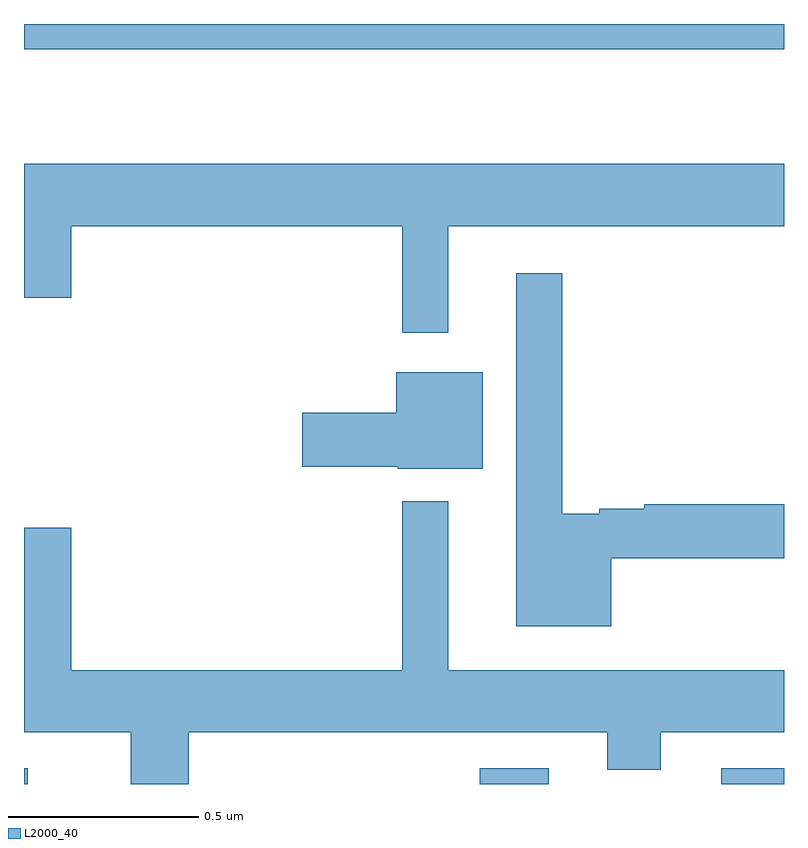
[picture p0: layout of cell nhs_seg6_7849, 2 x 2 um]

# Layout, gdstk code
import gdstk
lib = gdstk.Library(unit=1e-6, precision=1e-09)
def R(c, l, rs):  # rectangles x0, y0, x1, y1
    for r in rs: c.add(gdstk.rectangle(r[:2], r[2:], *l))
def P(c, l, *ps):  # polygons
    for p in ps: c.add(gdstk.Polygon(p, *l))
L2000_40 = (2000, 40)

nhs_seg6_7849 = lib.new_cell('nhs_seg6_7849')
R(nhs_seg6_7849, L2000_40, [(213,980.5,213.01,980.542), (214.199,980.5,214.381,980.542), (214.835,980.5,215,980.542), (213,982.434,215,982.5)])
P(nhs_seg6_7849, L2000_40, [(214.117,981.968),(215,981.968),(215,982.132),(213,982.132),(213,981.78),(213.124,981.78),(213.124,981.968),(213.996,981.968),(213.996,981.687),(214.117,981.687)],
  [(214.546,981.094),(215,981.094),(215,981.236),(214.632,981.236),(214.632,981.224),(214.514,981.224),(214.514,981.211),(214.417,981.211),(214.417,981.844),(214.295,981.844),(214.295,980.915),(214.546,980.915)],
  [(214.207,981.583),(213.98,981.583),(213.98,981.477),(213.732,981.477),(213.732,981.335),(213.984,981.335),(213.984,981.329),(214.207,981.329)],
  [(213.434,980.636),(214.535,980.636),(214.535,980.537),(214.675,980.537),(214.675,980.636),(215,980.636),(215,980.8),(214.117,980.8),(214.117,981.244),(213.996,981.244),(213.996,980.8),(213.124,980.8),(213.124,981.175),(213,981.175),(213,980.636),(213.281,980.636),(213.281,980.5),(213.434,980.5)])

lib.write_gds('nhs_seg6_7849.gds')
